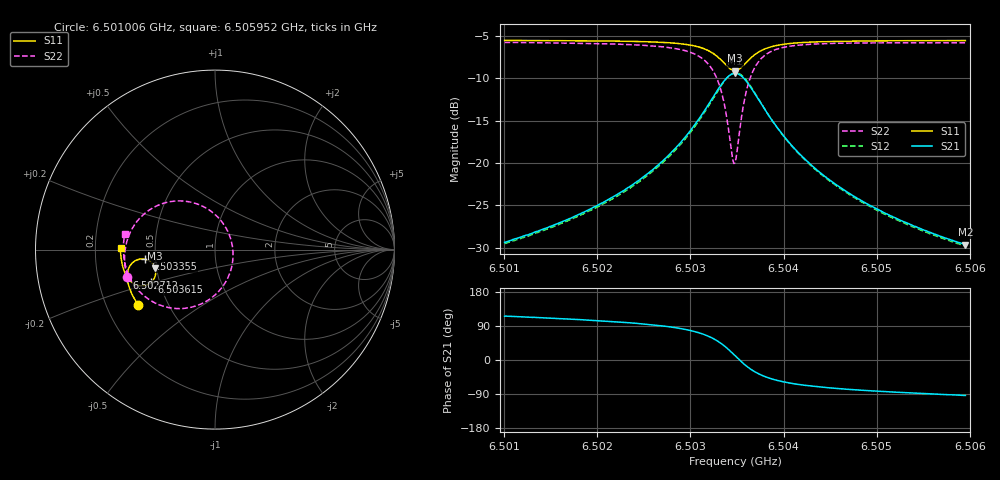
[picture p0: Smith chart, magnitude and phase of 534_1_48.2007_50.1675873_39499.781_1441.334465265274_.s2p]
#  HZ  S  RI  R  50.00
! Rohde & Schwarz Vector Network Analyzer
! Rohde-Schwarz,ZNB20-2Port,1311601062101988,3.16
! Created: UTC 3/20/2024, 12:00:00 PM
! freq[Hz]  re:S11  im:S11  re:S21  im:S21  re:S12  im:S12  re:S22  im:S22
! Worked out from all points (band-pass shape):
!   401 points, 6.501006 GHz to 6.505952 GHz, reference 50 ohm
!   highest |S21| = -9.44 dB at 6.503479 GHz (marker M1); lowest = -29.6 dB at 6.505952 GHz (marker M2)
!   |S21| within 3 dB of the highest: 6.503233 GHz to 6.503726 GHz (493.7 kHz wide, 0.00759 % of centre)
!   lowest |S11| = -9.1 dB at 6.503479 GHz (marker M3), VSWR 2.08, Z = 24.5 - j5.85 ohm
!   |S11| at or under -10 dB: nowhere
!   |S22| runs from -20.1 to -5.8 dB; largest |S21 - S12| = 0.011
!   S11 on the Smith chart (normalised r, x): 6.501006 GHz: 0.34, -0.29; 6.502712 GHz: 0.33, -0.14; 6.503355 GHz: 0.44, -0.06; 6.503615 GHz: 0.45, -0.19; 6.505952 GHz: 0.31, +0.01
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6.5010057e9  -0.4285 -0.307  -0.0147 0.0307  -0.0132 0.0307  -0.4908 -0.1505
6.5018343e9  -0.4638 -0.2453  -0.0141 0.0487  -0.0118 0.0483  -0.5033 -0.0616
6.5023042e9  -0.4802 -0.2031  -0.011 0.0691  -0.00801 0.0679  -0.4993 0.00623
6.5026628e9  -0.4884 -0.1627  -0.00188 0.0983  0.00174 0.0959  -0.4795 0.0796
6.5027123e9  -0.4889 -0.1561  0.000771 0.1041  0.00417 0.1015  -0.4743 0.0924
6.5029472e9  -0.4856 -0.1193  0.0233 0.1406  0.0267 0.1365  -0.4272 0.1663
6.503108e9  -0.4712 -0.087  0.0622 0.1765  0.0648 0.171  -0.3514 0.2298
6.5032564e9  -0.4339 -0.0573  0.1432 0.2054  0.1438 0.1996  -0.2038 0.2714
6.5033553e9  -0.3875 -0.054  0.2342 0.1896  0.2343 0.1852  -0.0463 0.2296
6.5034419e9  -0.3447 -0.0828  0.3125 0.1157  0.315 0.112  0.0789 0.0843
6.5034666e9  -0.3365 -0.097  0.3261 0.0841  0.3293 0.0797  0.0961 0.0248
6.503479e9  -0.3336 -0.1047  0.3305 0.0673  0.3341 0.0622  0.1001 -0.00653
6.5035037e9  -0.3306 -0.1209  0.3341 0.0325  0.3382 0.0264  0.0979 -0.0697
6.5035408e9  -0.3326 -0.1447  0.327 -0.0174  0.3307 -0.0259  0.0711 -0.1583
6.503615e9  -0.3546 -0.1819  0.2808 -0.0938  0.281 -0.1048  -0.0379 -0.2815
6.5037263e9  -0.4003 -0.202  0.1939 -0.1393  0.1892 -0.1488  -0.2134 -0.3285
6.503887e9  -0.4474 -0.1925  0.1104 -0.1356  0.1035 -0.1408  -0.364 -0.2803
6.5040602e9  -0.4753 -0.1712  0.065 -0.1148  0.0588 -0.1171  -0.4375 -0.2139
6.5043075e9  -0.4962 -0.1412  0.0344 -0.0897  0.0298 -0.0903  -0.4814 -0.1407
6.5047279e9  -0.5134 -0.0973  0.0136 -0.0637  0.0105 -0.0631  -0.5056 -0.0572
6.505136e9  -0.5213 -0.0594  0.00519 -0.0489  0.00289 -0.0483  -0.5105 0.00041
6.5059522e9  -0.5265 0.0101  -0.00203 -0.0329  -0.00331 -0.0322  -0.503 0.088
